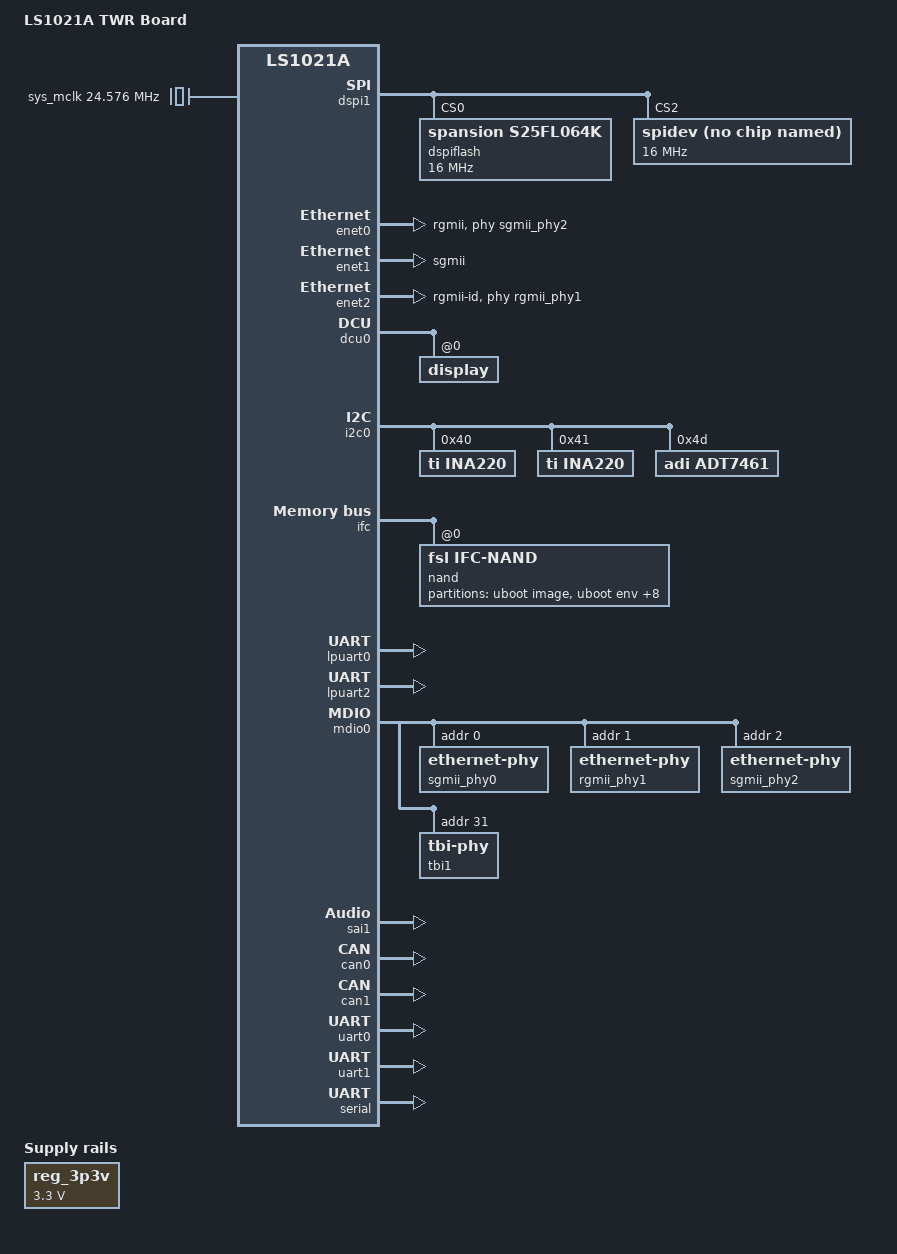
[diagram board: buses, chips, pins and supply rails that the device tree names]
/*
 * Copyright 2013-2014 Freescale Semiconductor, Inc.
 *
 * This file is dual-licensed: you can use it either under the terms
 * of the GPL or the X11 license, at your option. Note that this dual
 * licensing only applies to this file, and not this project as a
 * whole.
 *
 *  a) This file is free software; you can redistribute it and/or
 *     modify it under the terms of the GNU General Public License as
 *     published by the Free Software Foundation; either version 2 of
 *     the License, or (at your option) any later version.
 *
 *     This file is distributed in the hope that it will be useful,
 *     but WITHOUT ANY WARRANTY; without even the implied warranty of
 *     MERCHANTABILITY or FITNESS FOR A PARTICULAR PURPOSE.  See the
 *     GNU General Public License for more details.
 *
 *     You should have received a copy of the GNU General Public
 *     License along with this file; if not, write to the Free
 *     Software Foundation, Inc., 51 Franklin St, Fifth Floor, Boston,
 *     MA 02110-1301 USA
 *
 * Or, alternatively,
 *
 *  b) Permission is hereby granted, free of charge, to any person
 *     obtaining a copy of this software and associated documentation
 *     files (the "Software"), to deal in the Software without
 *     restriction, including without limitation the rights to use,
 *     copy, modify, merge, publish, distribute, sublicense, and/or
 *     sell copies of the Software, and to permit persons to whom the
 *     Software is furnished to do so, subject to the following
 *     conditions:
 *
 *     The above copyright notice and this permission notice shall be
 *     included in all copies or substantial portions of the Software.
 *
 *     THE SOFTWARE IS PROVIDED "AS IS", WITHOUT WARRANTY OF ANY KIND,
 *     EXPRESS OR IMPLIED, INCLUDING BUT NOT LIMITED TO THE WARRANTIES
 *     OF MERCHANTABILITY, FITNESS FOR A PARTICULAR PURPOSE AND
 *     NONINFRINGEMENT. IN NO EVENT SHALL THE AUTHORS OR COPYRIGHT
 *     HOLDERS BE LIABLE FOR ANY CLAIM, DAMAGES OR OTHER LIABILITY,
 *     WHETHER IN AN ACTION OF CONTRACT, TORT OR OTHERWISE, ARISING
 *     FROM, OUT OF OR IN CONNECTION WITH THE SOFTWARE OR THE USE OR
 *     OTHER DEALINGS IN THE SOFTWARE.
 */

/dts-v1/;
#include "ls1021a.dtsi"

/ {
	model = "LS1021A TWR Board";

	aliases {
		enet2_rgmii_phy = &rgmii_phy1;
		enet0_sgmii_phy = &sgmii_phy2;
		enet1_sgmii_phy = &sgmii_phy0;
	};

	sys_mclk: clock-mclk {
		compatible = "fixed-clock";
		#clock-cells = <0>;
		clock-frequency = <24576000>;
	};

	regulators {
		compatible = "simple-bus";
		#address-cells = <1>;
		#size-cells = <0>;

		reg_3p3v: regulator@0 {
			compatible = "regulator-fixed";
			reg = <0>;
			regulator-name = "3P3V";
			regulator-min-microvolt = <3300000>;
			regulator-max-microvolt = <3300000>;
			regulator-always-on;
		};
	};

	sound {
		compatible = "simple-audio-card";
		simple-audio-card,format = "i2s";
		simple-audio-card,widgets =
			"Microphone", "Microphone Jack",
			"Headphone", "Headphone Jack",
			"Speaker", "Speaker Ext",
			"Line", "Line In Jack";
		simple-audio-card,routing =
			"MIC_IN", "Microphone Jack",
			"Microphone Jack", "Mic Bias",
			"LINE_IN", "Line In Jack",
			"Headphone Jack", "HP_OUT",
			"Speaker Ext", "LINE_OUT";

		simple-audio-card,cpu {
			sound-dai = <&sai1>;
			frame-master;
			bitclock-master;
		};

		simple-audio-card,codec {
			sound-dai = <&codec>;
			frame-master;
			bitclock-master;
		};
	};
};

&dspi1 {
	bus-num = <0>;
	status = "okay";

	dspiflash: s25fl064k@0 {
		#address-cells = <1>;
		#size-cells = <1>;
		compatible = "spansion,s25fl064k";
		spi-max-frequency = <16000000>;
		spi-cpol;
		spi-cpha;
		reg = <0>;
	};

        spidev: spidev@2 {
                compatible = "rohm,dh2228fv";
                spi-max-frequency = <16000000>;
                reg = <2>;
        };
};

&qspi {
	num-cs = <2>;
	status = "disabled";

	qflash0: n25q128a13@0 {
		compatible = "n25q128a13", "jedec,spi-nor";
		#address-cells = <1>;
		#size-cells = <1>;
		spi-max-frequency = <20000000>;
		reg = <0>;
	};
};

&enet0 {
	phy-handle = <&sgmii_phy2>;
	phy-connection-type = "rgmii";
	status = "okay";
};

&enet1 {
        fixed-link = <1 1 1000 0 0>;
	tbi-handle = <&tbi1>;
	phy-connection-type = "sgmii";
	status = "okay";
};

&enet2 {
	phy-handle = <&rgmii_phy1>;
	phy-connection-type = "rgmii-id";
	status = "okay";
};

&dcu0 {
	display = <&display>;
	status = "okay";

	display: display@0 {
		bits-per-pixel = <24>;

		display-timings {
			native-mode = <&timing0>;
			timing0: nl4827hc19 {
				clock-frequency = <10870000>;
				hactive = <480>;
				vactive = <272>;
				hback-porch = <2>;
				hfront-porch = <2>;
				vback-porch = <2>;
				vfront-porch = <2>;
				hsync-len = <41>;
				vsync-len = <4>;
				hsync-active = <1>;
				vsync-active = <1>;
			};
		};
	};
};

&i2c0 {
	status = "okay";

	ina220@40 {
		compatible = "ti,ina220";
		reg = <0x40>;
		shunt-resistor = <1000>;
	};

	ina220@41 {
		compatible = "ti,ina220";
		reg = <0x41>;
		shunt-resistor = <1000>;
	};

	adt7461@4c {
		compatible = "adi,adt7461";
		reg = <0x4d>;
	};
};

&i2c1 {
	status = "disabled";
	codec: sgtl5000@a {
		#sound-dai-cells = <0>;
		compatible = "fsl,sgtl5000";
		reg = <0x0a>;
		VDDA-supply = <&reg_3p3v>;
		VDDIO-supply = <&reg_3p3v>;
		clocks = <&sys_mclk 1>;
	};

	hdmi: sii9022a@39 {
	      compatible = "fsl,sii902x";
	      reg = <0x39>;
	      interrupts = <GIC_SPI 167 IRQ_TYPE_EDGE_RISING>;
	};
};

&ifc {
	#address-cells = <2>;
	#size-cells = <1>;
	/* NAND Flash on board */
	ranges = <0x0 0x0 0x0 0x7e800000 0x00010000>;
	status = "okay";

	nand@0,0 {
		#address-cells = <1>;
		#size-cells = <1>;
		compatible = "fsl,ifc-nand";
		reg = <0x0 0x0 0x10000>;
		bank-width = <2>;
		device-width = <1>;

        partition@0 {
			/* 2MB for u-boot Image */
			reg = <0x00000000 0x00200000>;
			label = "uboot image";
			read-only;
		};
		partition@200000 {
			reg = <0x00200000 0x00400000>;
			label = "uboot env";
		};
		partition@600000 {
			reg = <0x00600000 0x00a00000>;
			label = "kern image";
		};
		partition@a00000 {
			label = "device tree";
			reg = <0x01000000 0x00100000>;
		};
		partition@1100000 {
			label = "hardware information";
			reg = <0x01100000 0x00100000>;
		};
		partition@1200000 {
			label = "rootfs";
			reg = <0x01200000 0x05000000>;
		};
		partition@6200000 {
			label = "applications";
			reg = <0x06200000 0x10000000>;
		};
		partition@16200000 {
			label = "configs";
			reg = <0x16200000 0x02000000>;
		};
		partition@18200000 {
			label = "user";
			reg = <0x18200000 0x14000000>;
		};
		partition@2c200000 {
			label = "logs";
			reg = <0x2c200000 0x13d00000>;
		};
	};
};

&lpuart0 {
	status = "okay";
};

&lpuart2 {
	status = "okay";
};

&mdio0 {
	sgmii_phy0: ethernet-phy@0 {
		reg = <0x0>;
	};

	rgmii_phy1: ethernet-phy@1 {
		reg = <0x1>;
	};

	sgmii_phy2: ethernet-phy@2 {
		reg = <0x2>;
	};

	tbi1: tbi-phy@1f {
		reg = <0x1f>;
		device_type = "tbi-phy";
	};
};

&sai1 {
	status = "okay";
};

&sata {
	status = "disabled";
};

&can0 {
	status = "okay";
};

&can1 {
	status = "okay";
};

&can2 {
	status = "disabled";
};

&can3 {
	status = "disabled";
};

&uart0 {
	status = "okay";
};

&uart1 {
	status = "okay";
};

&uqe {
	serial: ucc@2000 {
		device_type = "serial";
		compatible = "ucc_uart";
		port-number = <0>;
		rx-clock-name = "brg1";
		tx-clock-name = "brg1";
	};

	ucc_hdlc: ucc@2200 {
		compatible = "fsl,ucc_hdlc";
		rx-clock-name = "brg2";
		tx-clock-name = "brg2";
		fsl,rx-sync-clock = "none";
		fsl,tx-sync-clock = "none";
		fsl,tx-timeslot = <0xfffffffe>;
		fsl,rx-timeslot = <0xfffffffe>;
		fsl,tdm-framer-type = "e1";
		fsl,tdm-mode = "normal";
		fsl,tdm-id = <1>;
		fsl,siram-entry-id = <2>;
		fsl,inter-loopback;
	};
};
